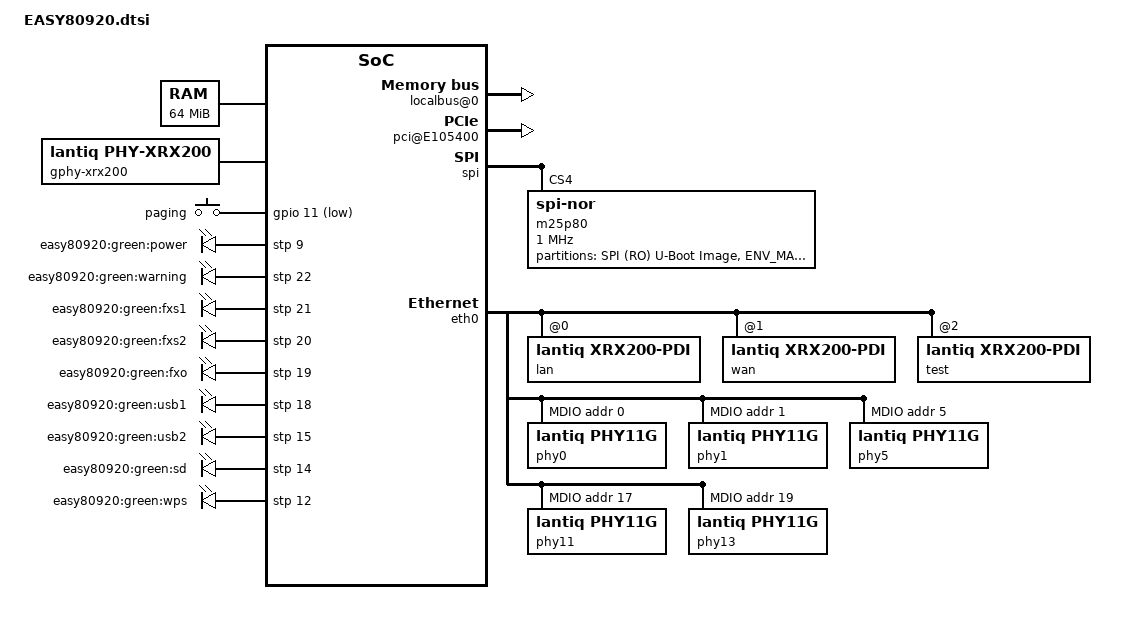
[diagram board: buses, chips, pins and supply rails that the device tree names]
/include/ "vr9.dtsi"

/ {
	chosen {
		bootargs = "console=ttyLTQ0,115200 init=/etc/preinit";

		leds {
			boot = &power;
			failsafe = &power;
			running = &power;

			usb = &usb1;
			usb2 = &usb2;
		};
	};

	memory@0 {
		reg = <0x0 0x4000000>;
	};

	fpi@10000000 {
		#address-cells = <1>;
		#size-cells = <1>;
		compatible = "lantiq,fpi", "simple-bus";
		ranges = <0x0 0x10000000 0xEEFFFFF>;
		reg = <0x10000000 0xEF00000>;

		localbus@0 {
			#address-cells = <2>;
			#size-cells = <1>;
			compatible = "lantiq,localbus", "simple-bus";

		};

		gpio: pinmux@E100B10 {
			compatible = "lantiq,pinctrl-xr9";
			pinctrl-names = "default";
			pinctrl-0 = <&state_default>;

			interrupt-parent = <&icu0>;
			interrupts = <166 135 66 40 41 42 38>;

			#gpio-cells = <2>;
			gpio-controller;
			reg = <0xE100B10 0xA0>;

			state_default: pinmux {
				exin3 {
					lantiq,groups = "exin3";
					lantiq,function = "exin";
				};
				stp {
					lantiq,groups = "stp";
					lantiq,function = "stp";
				};
				nand {
					lantiq,groups = "nand cle", "nand ale",
							"nand rd", "nand rdy";
					lantiq,function = "ebu";
				};
				mdio {
					lantiq,groups = "mdio";
					lantiq,function = "mdio";
				};
				pci {
					lantiq,groups = "gnt1", "req1";
					lantiq,function = "pci";
				};
				conf_out {
					lantiq,pins = "io24", "io13", "io49", /* nand cle, ale and rd */
							"io4", "io5", "io6", /* stp */
							"io21",
							"io33";
					lantiq,open-drain;
					lantiq,pull = <0>;
					lantiq,output = <1>;
				};
				pcie-rst {
					lantiq,pins = "io38";
					lantiq,pull = <0>;
					lantiq,output = <1>;
				};
				conf_in {
					lantiq,pins = "io39", /* exin3 */
							"io48"; /* nand rdy */
					lantiq,pull = <2>;
				};
			};
			pins_spi_default: pins_spi_default {
				spi_in {
					lantiq,groups = "spi_di";
					lantiq,function = "spi";
				};
				spi_out {
					lantiq,groups = "spi_do", "spi_clk",
						"spi_cs4";
					lantiq,function = "spi";
					lantiq,output = <1>;
				};
			};
		};

		stp: stp@E100BB0 {
			compatible = "lantiq,gpio-stp-xway";
			reg = <0xE100BB0 0x40>;
			#gpio-cells = <2>;
			gpio-controller;

			lantiq,shadow = <0xffff>;
			lantiq,groups = <0x7>;
			lantiq,dsl = <0x3>;
			lantiq,phy1 = <0x7>;
			lantiq,phy2 = <0x7>;
			/* lantiq,rising; */
		};

		ifxhcd@E101000 {
			status = "okay";
			gpios = <&gpio 33 0>;
			lantiq,portmask = <0x3>;
		};

		pci@E105400 {
			#address-cells = <3>;
			#size-cells = <2>;
			#interrupt-cells = <1>;
			compatible = "lantiq,pci-xway1";
			bus-range = <0x0 0x0>;
			ranges = <0x2000000 0 0x8000000 0x8000000 0 0x2000000   /* pci memory */
				0x1000000 0 0x00000000 0xAE00000 0 0x200000>; /* io space */
			reg = <0x7000000 0x8000         /* config space */
				0xE105400 0x400>;       /* pci bridge */
			lantiq,bus-clock = <33333333>;
			/*lantiq,external-clock;*/
			lantiq,delay-hi = <0>; /* 0ns delay */
			lantiq,delay-lo = <0>; /* 0.0ns delay */
			interrupt-map-mask = <0xf800 0x0 0x0 0x7>;
			interrupt-map = <
				0x7000 0 0 1 &icu0 29 1 // slot 14, irq 29
				>;
			gpios-reset = <&gpio 21 0>;
			req-mask = <0x1>;	/* GNT1 */
		};
	};

	gphy-xrx200 {
		compatible = "lantiq,phy-xrx200";
		firmware = "lantiq/vr9_phy11g_a2x.bin";
		phys = [ 00 01 ];
	};

	gpio-keys-polled {
		compatible = "gpio-keys-polled";
		#address-cells = <1>;
		#size-cells = <0>;
		poll-interval = <100>;
/*		reset {
			label = "reset";
			gpios = <&gpio 7 1>;
			linux,code = <0x198>;
		};*/
		paging {
			label = "paging";
			gpios = <&gpio 11 1>;
			linux,code = <0x100>;
		};
	};

	gpio-leds {
		compatible = "gpio-leds";

		power: power {
			label = "easy80920:green:power";
			gpios = <&stp 9 0>;
			default-state = "keep";
		};
		warning {
			label = "easy80920:green:warning";
			gpios = <&stp 22 0>;
		};
		fxs1 {
			label = "easy80920:green:fxs1";
			gpios = <&stp 21 0>;
		};
		fxs2 {
			label = "easy80920:green:fxs2";
			gpios = <&stp 20 0>;
		};
		fxo {
			label = "easy80920:green:fxo";
			gpios = <&stp 19 0>;
		};
		usb1: usb1 {
			label = "easy80920:green:usb1";
			gpios = <&stp 18 0>;
		};
		usb2: usb2 {
			label = "easy80920:green:usb2";
			gpios = <&stp 15 0>;
		};
		sd {
			label = "easy80920:green:sd";
			gpios = <&stp 14 0>;
		};
		wps {
			label = "easy80920:green:wps";
			gpios = <&stp 12 0>;
		};
	};
};

&spi {
	pinctrl-names = "default";
	pinctrl-0 = <&pins_spi_default>;

	status = "ok";

	m25p80@4 {
		#address-cells = <1>;
		#size-cells = <1>;
		compatible = "jedec,spi-nor";
		reg = <4 0>;
		spi-max-frequency = <1000000>;

		partition@0 {
			reg = <0x0 0x20000>;
			label = "SPI (RO) U-Boot Image";
			read-only;
		};

		partition@20000 {
			reg = <0x20000 0x10000>;
			label = "ENV_MAC";
			read-only;
		};

		partition@30000 {
			reg = <0x30000 0x10000>;
			label = "DPF";
			read-only;
		};

		partition@40000 {
			reg = <0x40000 0x10000>;
			label = "NVRAM";
			read-only;
		};

		partition@500000 {
			reg = <0x50000 0x003a0000>;
			label = "kernel";
		};
	};
};

&eth0 {
	lan: interface@0 {
		compatible = "lantiq,xrx200-pdi";
		#address-cells = <1>;
		#size-cells = <0>;
		reg = <0>;
		mac-address = [ 00 11 22 33 44 55 ];

		ethernet@0 {
			compatible = "lantiq,xrx200-pdi-port";
			reg = <0>;
			phy-mode = "rgmii";
			phy-handle = <&phy0>;
		};
		ethernet@1 {
			compatible = "lantiq,xrx200-pdi-port";
			reg = <1>;
			phy-mode = "rgmii";
			phy-handle = <&phy1>;
		};
		ethernet@2 {
			compatible = "lantiq,xrx200-pdi-port";
			reg = <2>;
			phy-mode = "gmii";
			phy-handle = <&phy11>;
		};
	};

	wan: interface@1 {
		compatible = "lantiq,xrx200-pdi";
		#address-cells = <1>;
		#size-cells = <0>;
		reg = <1>;
		mac-address = [ 00 11 22 33 44 56 ];
		lantiq,wan;
		ethernet@5 {
			compatible = "lantiq,xrx200-pdi-port";
			reg = <5>;
			phy-mode = "rgmii";
			phy-handle = <&phy5>;
		};
	};

	test: interface@2 {
		compatible = "lantiq,xrx200-pdi";
		#address-cells = <1>;
		#size-cells = <0>;
		reg = <2>;
		mac-address = [ 00 11 22 33 44 57 ];
		ethernet@4 {
			compatible = "lantiq,xrx200-pdi-port";
			reg = <4>;
			phynmode0 = "gmii";
			phy-handle = <&phy13>;
		};
	};

	mdio@0 {
		#address-cells = <1>;
		#size-cells = <0>;
		compatible = "lantiq,xrx200-mdio";
		phy0: ethernet-phy@0 {
			reg = <0x0>;
			compatible = "lantiq,phy11g", "ethernet-phy-ieee802.3-c22";
		};
		phy1: ethernet-phy@1 {
			reg = <0x1>;
			compatible = "lantiq,phy11g", "ethernet-phy-ieee802.3-c22";
		};
		phy5: ethernet-phy@5 {
			reg = <0x5>;
			compatible = "lantiq,phy11g", "ethernet-phy-ieee802.3-c22";
		};
		phy11: ethernet-phy@11 {
			reg = <0x11>;
			compatible = "lantiq,phy11g", "ethernet-phy-ieee802.3-c22";
		};
		phy13: ethernet-phy@13 {
			reg = <0x13>;
			compatible = "lantiq,phy11g", "ethernet-phy-ieee802.3-c22";
		};
	};
};
